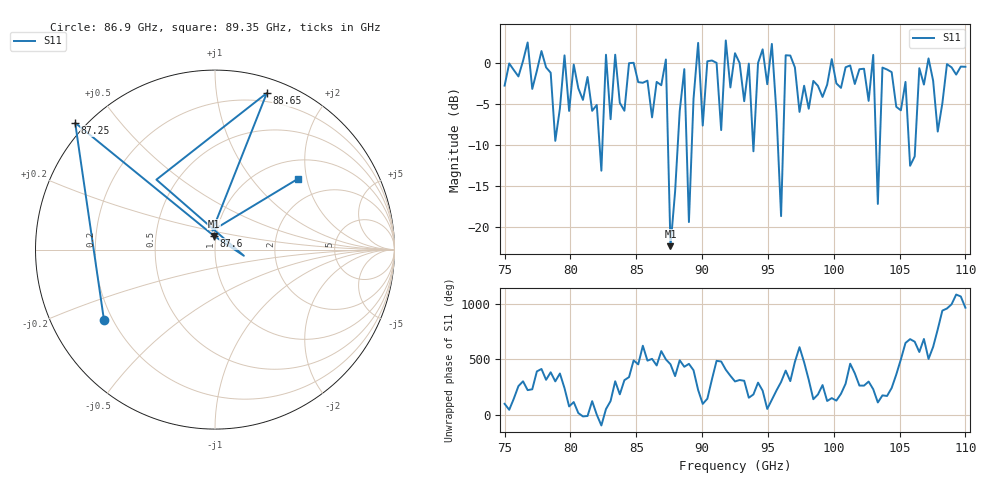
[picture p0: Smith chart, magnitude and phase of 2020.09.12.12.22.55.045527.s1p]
!Created with skrf (http://scikit-rf.org).
# GHz S RI R 50.0
!freq ReS11 ImS11
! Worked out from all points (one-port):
!   101 points, 75 GHz to 110 GHz, reference 50 ohm
!   lowest |S11| = -22.4 dB at 87.6 GHz (marker M1), VSWR 1.17, Z = 48.9 + j7.49 ohm
!   |S11| at or under -10 dB: 82.21319 GHz to 82.42754 GHz (214.4 MHz wide, 0.26 % of centre); 87.41 GHz to 88.15 GHz (742.5 MHz wide, 0.846 % of centre); 105.7133 GHz to 106.1952 GHz (481.9 MHz wide, 0.455 % of centre) (the widest 3 of 7)
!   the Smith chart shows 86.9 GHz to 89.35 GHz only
!   S11 on the Smith chart (normalised r, x): 86.9 GHz: 0.17, -0.28; 87.25 GHz: -0.03, +0.39; 87.6 GHz: 0.98, +0.15; 88.65 GHz: 0.12, +1.38; 89.35 GHz: 1.42, +1.77
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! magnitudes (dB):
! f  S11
! 75 GHz  -2.8
! 77.8 GHz  1.5
! 78.85 GHz  -9.5
! 79.55 GHz  0.9
! 82.35 GHz  -13.1
! 82.7 GHz  1.0
! 83.75 GHz  -4.9
! 86.9 GHz  -2.7
! 87.25 GHz  0.4
! 87.6 GHz  -22.4
! 88.3 GHz  -5.9
! 88.65 GHz  -0.7
! 89 GHz  -19.4
! 89.35 GHz  -4.4
! 92.5 GHz  1.2
! 93.9 GHz  -10.8
! 95.3 GHz  2.3
! 96 GHz  -18.7
! 96.35 GHz  1.0
! 97.05 GHz  -0.5
! 101.2 GHz  -0.3
! 103 GHz  1.0
! 103.3 GHz  -17.2
! 103.7 GHz  -0.5
! 105.5 GHz  -2.3
! 105.8 GHz  -12.5
! 106.5 GHz  -0.6
! 110 GHz  -0.5
